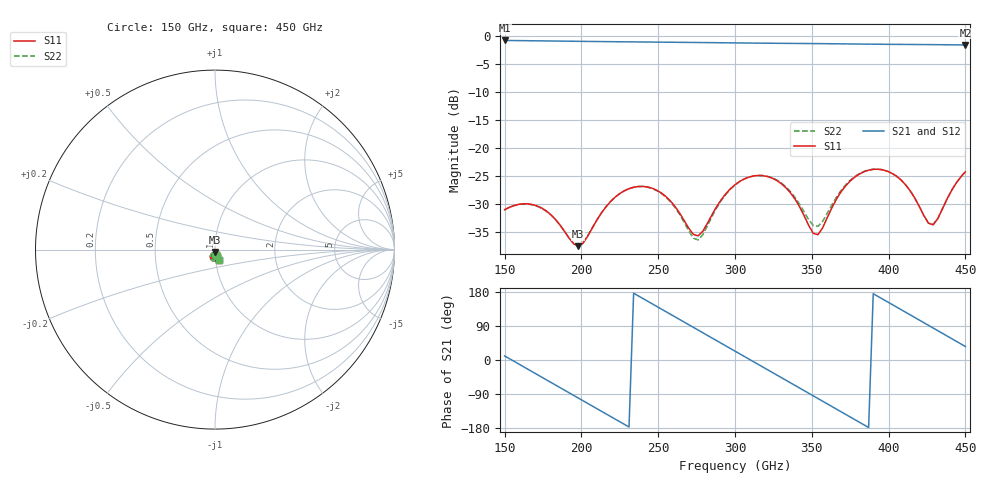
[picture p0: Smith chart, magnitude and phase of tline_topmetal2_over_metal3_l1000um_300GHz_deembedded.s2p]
! Created with skrf 2.2.0 (http://scikit-rf.org).
# GHz S DB R 50.0
! Port[1] = P1
! Port[2] = P2
!freq dBS11 angS11 dBS21 angS21 dBS12 angS12 dBS22 angS22
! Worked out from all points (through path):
!   101 points, 150 GHz to 450 GHz, reference 50 ohm
!   highest |S21| = -0.82 dB at 150 GHz (marker M1); lowest = -1.6 dB at 450 GHz (marker M2)
!   group delay of S21, straight-line fit = 6.43 ps
!   lowest |S11| = -37.6 dB at 198 GHz (marker M3), VSWR 1.03, Z = 49.9 - j1.31 ohm
!   |S11| at or under -10 dB: start of sweep to end of sweep
!   |S22| runs from -37.5 to -23.8 dB; largest |S21 - S12| = 1.5e-13
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150  -31.10 -80.5  -0.82 10.8  -0.82 10.8  -31.08 -83.2
162  -30.03 -95.8  -0.86 -17.0  -0.86 -17.0  -30.07 -97.7
177  -31.28 -115.1  -0.91 -51.8  -0.91 -51.8  -31.34 -116.3
198  -37.61 -92.2  -0.98 -100.4  -0.98 -100.4  -37.48 -92.9
201  -37.10 -79.5  -0.99 -107.4  -0.99 -107.4  -36.96 -80.6
216  -30.57 -64.7  -1.03 -142.1  -1.03 -142.1  -30.55 -66.2
228  -27.69 -79.7  -1.07 -169.9  -1.07 -169.9  -27.71 -81.1
240  -26.91 -98.8  -1.10 162.4  -1.10 162.4  -26.95 -100.2
252  -28.09 -116.6  -1.13 134.6  -1.13 134.6  -28.17 -118.2
264  -31.71 -125.0  -1.16 106.8  -1.16 106.8  -31.95 -127.2
276  -35.76 -91.5  -1.19 79.0  -1.19 79.0  -36.49 -90.9
300  -26.62 -74.3  -1.26 23.4  -1.26 23.4  -26.67 -72.0
312  -25.05 -92.8  -1.29 -4.4  -1.29 -4.4  -25.05 -90.5
324  -25.42 -112.5  -1.32 -32.1  -1.32 -32.1  -25.37 -109.6
339  -29.16 -130.6  -1.36 -66.9  -1.36 -66.9  -28.86 -126.1
351  -35.32 -108.4  -1.38 -94.7  -1.38 -94.7  -33.92 -105.4
363  -30.77 -61.4  -1.41 -122.6  -1.41 -122.6  -30.25 -65.9
378  -25.25 -73.4  -1.46 -157.3  -1.46 -157.3  -25.15 -75.8
402  -24.55 -111.8  -1.52 147.1  -1.52 147.1  -24.54 -112.8
417  -28.98 -125.8  -1.54 112.3  -1.54 112.3  -28.98 -126.3
429  -33.78 -87.2  -1.57 84.4  -1.57 84.4  -33.74 -87.2
450  -24.32 -65.9  -1.63 35.6  -1.63 35.6  -24.29 -65.8
